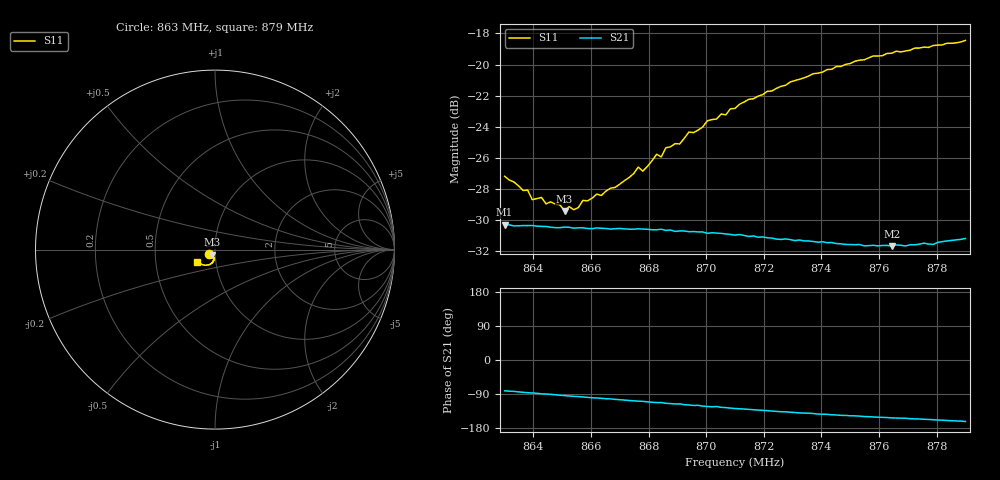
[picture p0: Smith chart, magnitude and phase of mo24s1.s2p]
# HZ S RI R 50
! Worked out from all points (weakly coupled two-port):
!   101 points, 863 MHz to 879 MHz, reference 50 ohm
!   highest |S21| = -30.30 dB at 863 MHz (marker M1); lowest = -31.7 dB at 876.44 MHz (marker M2)
!   lowest |S11| = -29.4 dB at 865.08 MHz (marker M3), VSWR 1.07, Z = 48.2 - j2.8 ohm
!   |S11| at or under -10 dB: start of sweep to end of sweep
!   S12 and S22 are empty: the file has one direction only
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8.63e8  -0.0353 -0.0259  0.00462 -0.0302  0 0  0 0
8.638e8  -0.0288 -0.0269  0.00194 -0.0303  0 0  0 0
8.6396e8  -0.0262 -0.0258  0.0016 -0.0303  0 0  0 0
8.6428e8  -0.0246 -0.0281  0.000402 -0.0302  0 0  0 0
8.6444e8  -0.023 -0.0272  8.5e-05 -0.0302  0 0  0 0
8.6492e8  -0.0204 -0.0289  -0.00159 -0.0298  0 0  0 0
8.6508e8  -0.0175 -0.029  -0.00202 -0.03  0 0  0 0
8.6556e8  -0.015 -0.0313  -0.00342 -0.0297  0 0  0 0
8.6572e8  -0.0142 -0.0337  -0.00385 -0.0296  0 0  0 0
8.6636e8  -0.0117 -0.0361  -0.00568 -0.0292  0 0  0 0
8.6732e8  -0.00886 -0.0424  -0.00854 -0.0283  0 0  0 0
8.6764e8  -0.00815 -0.0461  -0.00944 -0.0281  0 0  0 0
8.678e8  -0.00613 -0.045  -0.00969 -0.0279  0 0  0 0
8.6828e8  -0.00717 -0.051  -0.0112 -0.0272  0 0  0 0
8.6844e8  -0.00428 -0.0503  -0.0111 -0.0274  0 0  0 0
8.686e8  -0.00636 -0.0537  -0.0121 -0.0267  0 0  0 0
8.6908e8  -0.00652 -0.0552  -0.0127 -0.0263  0 0  0 0
8.694e8  -0.00982 -0.0599  -0.0139 -0.0254  0 0  0 0
8.71e8  -0.0136 -0.071  -0.0174 -0.0223  0 0  0 0
8.7372e8  -0.0358 -0.0863  -0.021 -0.0169  0 0  0 0
8.7644e8  -0.0689 -0.0841  -0.0232 -0.0119  0 0  0 0
8.79e8  -0.0989 -0.0672  -0.0263 -0.00842  0 0  0 0
